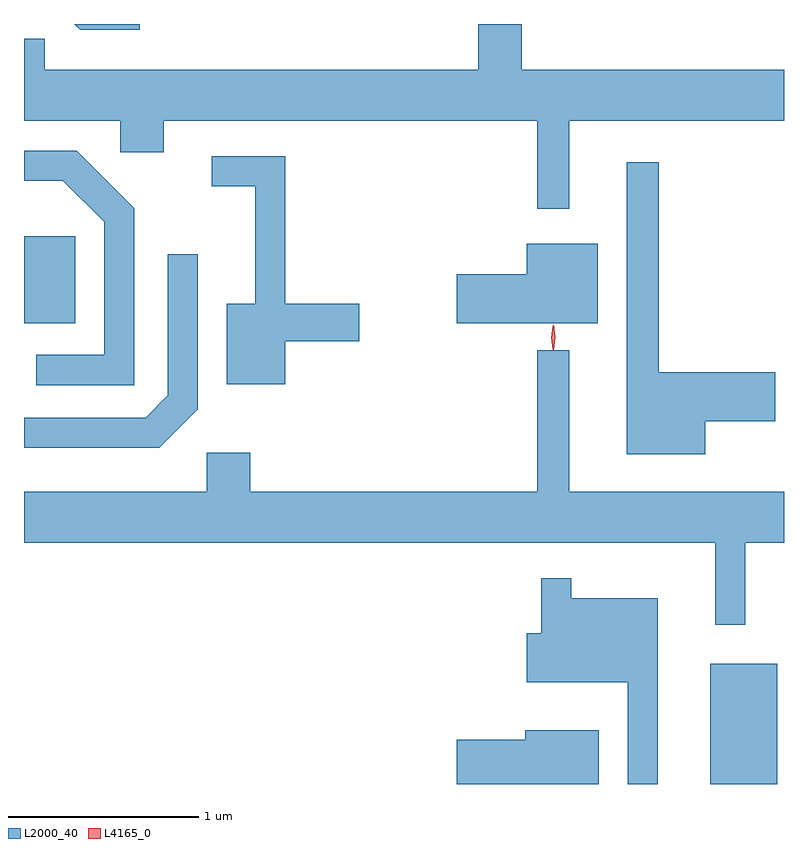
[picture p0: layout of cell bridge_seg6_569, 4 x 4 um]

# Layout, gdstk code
import gdstk
lib = gdstk.Library(unit=1e-6, precision=1e-09)
def R(c, l, rs):  # rectangles x0, y0, x1, y1
    for r in rs: c.add(gdstk.rectangle(r[:2], r[2:], *l))
def P(c, l, *ps):  # polygons
    for p in ps: c.add(gdstk.Polygon(p, *l))
L2000_40 = (2000, 40)
L4165_0 = (4165, 0)

bridge_seg6_569 = lib.new_cell('bridge_seg6_569')
R(bridge_seg6_569, L2000_40, [(474.151,1602.046,474.504,1602.679), (470.539,1604.471,470.809,1604.929)])
P(bridge_seg6_569, L2000_40, [(473.409,1605.536),(474.539,1605.536),(474.539,1605.804),(473.159,1605.804),(473.159,1606.046),(472.931,1606.046),(472.931,1605.804),(470.649,1605.804),(470.649,1605.969),(470.539,1605.969),(470.539,1605.536),(471.046,1605.536),(471.046,1605.371),(471.274,1605.371),(471.274,1605.536),(473.241,1605.536),(473.241,1605.073),(473.409,1605.073)],
  [(471.148,1606.046),(470.804,1606.046),(470.834,1606.016),(471.148,1606.016)],
  [(471.119,1605.077),(470.817,1605.379),(470.539,1605.379),(470.539,1605.221),(470.744,1605.221),(470.961,1605.004),(470.961,1604.304),(470.603,1604.304),(470.603,1604.146),(471.119,1604.146)],
  [(471.914,1604.376),(472.304,1604.376),(472.304,1604.574),(471.914,1604.574),(471.914,1605.349),(471.528,1605.349),(471.528,1605.191),(471.756,1605.191),(471.756,1604.574),(471.606,1604.574),(471.606,1604.151),(471.914,1604.151)],
  [(474.124,1603.956),(474.494,1603.956),(474.494,1604.214),(473.879,1604.214),(473.879,1605.318),(473.711,1605.318),(473.711,1603.781),(474.124,1603.781)],
  [(473.559,1604.889),(473.186,1604.889),(473.186,1604.729),(472.816,1604.729),(472.816,1604.471),(473.559,1604.471)],
  [(471.454,1604.019),(471.454,1604.833),(471.296,1604.833),(471.296,1604.092),(471.179,1603.974),(470.539,1603.974),(470.539,1603.816),(471.252,1603.816)],
  [(474.334,1603.316),(474.539,1603.316),(474.539,1603.584),(473.409,1603.584),(473.409,1604.328),(473.241,1604.328),(473.241,1603.584),(471.729,1603.584),(471.729,1603.789),(471.501,1603.789),(471.501,1603.584),(470.539,1603.584),(470.539,1603.316),(474.176,1603.316),(474.176,1602.883),(474.334,1602.883)],
  [(473.874,1603.024),(473.419,1603.024),(473.419,1603.128),(473.261,1603.128),(473.261,1602.839),(473.186,1602.839),(473.186,1602.581),(473.716,1602.581),(473.716,1602.046),(473.874,1602.046)],
  [(473.564,1602.329),(473.176,1602.329),(473.176,1602.279),(472.816,1602.279),(472.816,1602.046),(473.564,1602.046)])
P(bridge_seg6_569, L4165_0, [(473.324,1604.33),(473.316,1604.398),(473.326,1604.465),(473.327,1604.466),(473.327,1604.465),(473.336,1604.398),(473.326,1604.33),(473.325,1604.33)],
  [(473.322,1604.333),(473.313,1604.396),(473.322,1604.459),(473.323,1604.46),(473.323,1604.459),(473.333,1604.396),(473.323,1604.333),(473.323,1604.333)])

lib.write_gds('bridge_seg6_569.gds')
